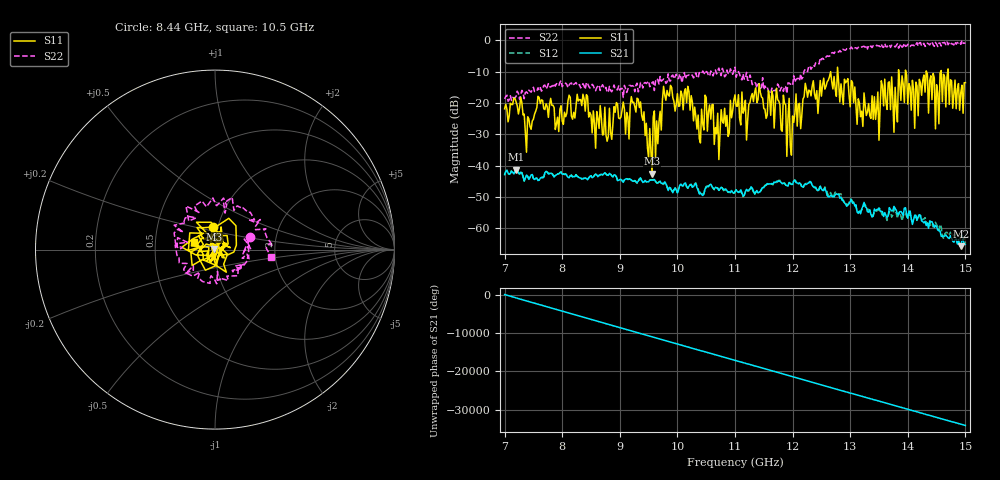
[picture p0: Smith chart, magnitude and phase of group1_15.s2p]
! 4/11/2025 3:26:56 PM
! C:\ANRITSUVNA\LELEC2350\LAB1_2025\GROUP1_15.S2P
! CHANNEL.1
! TR.MEASUREMENT
! CORRECTED.DATA
! RF.CORRECTION: FULL.TWO.PORT.CAL.PORT.1.2
! AVERAGING.OFF
! IF.BANDWIDTH: 300HZ
! SWEEPTYPE:  FREQ.SWEEP(Linear)
! Reference Plane Port Info
! PORT:  PORT1  PORT2
! DISTANCE:  0  m  0  m
! TIME:  0  s  0  s
! PHASE.OFFSET:  0 °  0 °
! LOSS:  0  dB  0  dB
! REF.LOSS:  0  dB  0  dB
! REF.FREQ:  0  Hz  0  Hz
! Power Info
! POWER:  5  dBm  5  dBm
! EFF.POWER:  5  dBm  5  dBm
# GHZ S RI R 50.0
! FREQ.GHZ  S11RE  S11IM  S21RE  S21IM  S12RE  S12IM  S22RE  S22IM
!; PortSelection: Port_12
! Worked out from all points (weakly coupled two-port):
!   401 points, 7 GHz to 15 GHz, reference 50 ohm
!   highest |S21| = -41.31 dB at 7.2 GHz (marker M1); lowest = -65.8 dB at 14.92 GHz (marker M2)
!   lowest |S11| = -42.6 dB at 9.56 GHz (marker M3), VSWR 1.01, Z = 49.3 + j0.287 ohm
!   |S11| at or under -10 dB: start of sweep to 12.66 GHz; 12.79 GHz to 13.84 GHz (1.054 GHz wide, 7.91 % of centre); 13.97 GHz to 14.32 GHz (353.2 MHz wide, 2.5 % of centre) (the widest 3 of 8)
!   |S22| runs from -19.5 to 0.0 dB; largest |S21 - S12| = 0.00053
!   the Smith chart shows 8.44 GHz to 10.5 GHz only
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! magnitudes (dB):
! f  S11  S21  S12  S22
! 7 GHz  -21.9  -42.9  -42.9  -18.7
! 7.2 GHz  -19.7  -41.3  -41.2  -17.9
! 7.4 GHz  -24.4  -43.5  -43.4  -16.9
! 7.62 GHz  -20.2  -44.0  -44.1  -15.1
! 7.92 GHz  -24.6  -42.7  -42.7  -14.1
! 8.34 GHz  -20.8  -44.3  -44.2  -14.5
! 8.82 GHz  -21.7  -42.5  -42.4  -14.7
! 9.32 GHz  -18.8  -45.0  -45.1  -16.5
! 9.56 GHz  -42.6  -44.6  -44.6  -13.5
! 9.68 GHz  -26.2  -45.3  -45.3  -13.9
! 9.86 GHz  -17.8  -47.0  -47.2  -12.9
! 10.36 GHz  -23.9  -47.9  -47.5  -12.0
! 10.58 GHz  -25.2  -46.0  -46.1  -9.8
! 10.68 GHz  -29.8  -47.0  -47.1  -10.7
! 11 GHz  -17.4  -48.4  -48.4  -8.6
! 11.74 GHz  -18.9  -45.0  -45.2  -13.9
! 11.94 GHz  -18.5  -45.4  -45.5  -13.6
! 12.34 GHz  -14.6  -46.3  -46.3  -8.5
! 13.32 GHz  -20.2  -54.9  -54.0  -1.6
! 13.68 GHz  -13.2  -53.5  -54.8  -1.3
! 14.92 GHz  -16.7  -65.8  -61.9  -1.3
! 15 GHz  -13.5  -65.2  -64.8  -0.8
